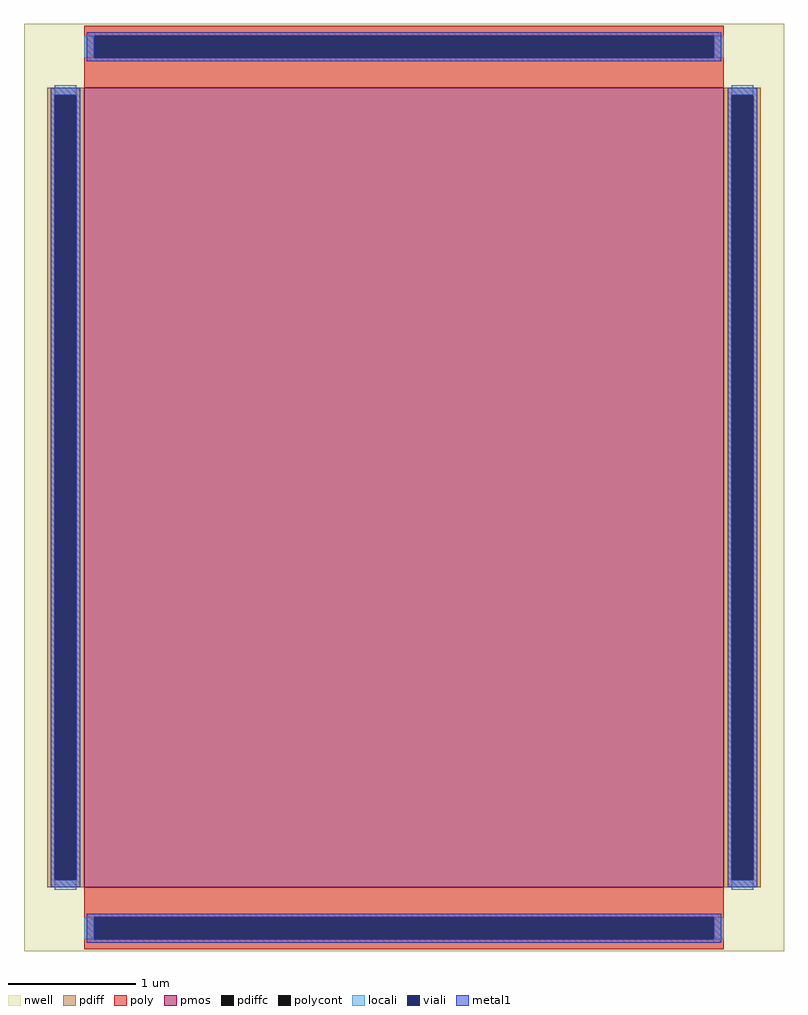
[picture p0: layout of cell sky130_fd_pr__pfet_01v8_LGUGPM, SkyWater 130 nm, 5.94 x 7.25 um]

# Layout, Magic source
magic
tech sky130A
magscale 1 2
<< nwell >>
rect -594 -725 594 725
<< pmos >>
rect -500 -625 500 625
<< pdiff >>
rect -558 613 -500 625
rect -558 -613 -546 613
rect -512 -613 -500 613
rect -558 -625 -500 -613
rect 500 613 558 625
rect 500 -613 512 613
rect 546 -613 558 613
rect 500 -625 558 -613
<< pdiffc >>
rect -546 -613 -512 613
rect 512 -613 546 613
<< poly >>
rect -500 706 500 722
rect -500 672 -484 706
rect 484 672 500 706
rect -500 625 500 672
rect -500 -672 500 -625
rect -500 -706 -484 -672
rect 484 -706 500 -672
rect -500 -722 500 -706
<< polycont >>
rect -484 672 484 706
rect -484 -706 484 -672
<< locali >>
rect -500 672 -484 706
rect 484 672 500 706
rect -546 613 -512 629
rect -546 -629 -512 -613
rect 512 613 546 629
rect 512 -629 546 -613
rect -500 -706 -484 -672
rect 484 -706 500 -672
<< viali >>
rect -484 672 484 706
rect -546 -613 -512 613
rect 512 -613 546 613
rect -484 -706 484 -672
<< metal1 >>
rect -496 706 496 712
rect -496 672 -484 706
rect 484 672 496 706
rect -496 666 496 672
rect -552 613 -506 625
rect -552 -613 -546 613
rect -512 -613 -506 613
rect -552 -625 -506 -613
rect 506 613 552 625
rect 506 -613 512 613
rect 546 -613 552 613
rect 506 -625 552 -613
rect -496 -672 496 -666
rect -496 -706 -484 -672
rect 484 -706 496 -672
rect -496 -712 496 -706
<< properties >>
string gencell sky130_fd_pr__pfet_01v8
string library sky130
string parameters w 6.25 l 5.0 m 1 nf 1 diffcov 100 polycov 100 guard 0 glc 1 grc 1 gtc 1 gbc 1 tbcov 100 rlcov 100 topc 1 botc 1 poverlap 0 doverlap 1 lmin 0.15 wmin 0.42 class mosfet compatible {sky130_fd_pr__pfet_01v8  sky130_fd_pr__pfet_01v8_lvt sky130_fd_pr__pfet_01v8_hvt  sky130_fd_pr__pfet_g5v0d10v5} full_metal 1 viasrc 100 viadrn 100 viagate 100 viagb 0 viagr 0 viagl 0 viagt 0
<< end >>
